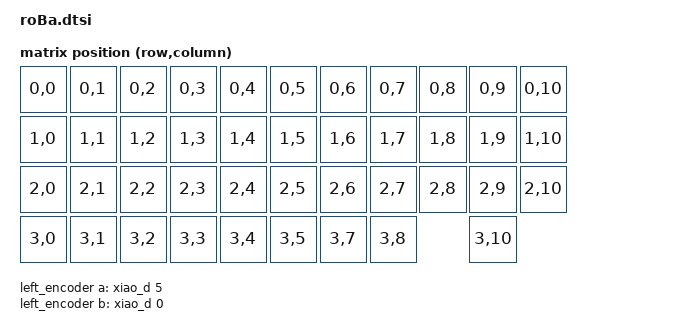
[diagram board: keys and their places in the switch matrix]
/* roBa.dtsi */
#include <dt-bindings/zmk/matrix_transform.h>

/ {
    chosen {
        zmk,matrix_transform = &default_transform;
    };

    /* 物理配列に合わせて11列 (左6 + 右5) */
    default_transform: keymap_transform_0 {
        compatible = "zmk,matrix-transform";
        columns = <11>;
        rows = <4>;
        
        map = <
            RC(0,0) RC(0,1) RC(0,2) RC(0,3) RC(0,4) RC(0,5)                 RC(0,6) RC(0,7) RC(0,8) RC(0,9) RC(0,10)
            RC(1,0) RC(1,1) RC(1,2) RC(1,3) RC(1,4) RC(1,5)         RC(1,6) RC(1,7) RC(1,8) RC(1,9) RC(1,10)
            RC(2,0) RC(2,1) RC(2,2) RC(2,3) RC(2,4) RC(2,5)         RC(2,6) RC(2,7) RC(2,8) RC(2,9) RC(2,10)
            RC(3,0) RC(3,1) RC(3,2) RC(3,3) RC(3,4) RC(3,5)                 RC(3,7) RC(3,8)         RC(3,10)
        >;
    };

    /* エンコーダー定義 (デフォルト無効) */
    left_encoder: left_encoder {
        compatible = "alps,ec11";
        a-gpios = <&xiao_d 5 (GPIO_ACTIVE_HIGH | GPIO_PULL_UP)>;
        b-gpios = <&xiao_d 0 (GPIO_ACTIVE_HIGH | GPIO_PULL_UP)>;
        steps = <24>;
        status = "disabled";
    };

    /* センサーリスト */
    sensors: sensors {
        compatible = "zmk,keymap-sensors";
        sensors = <&left_encoder>;
        triggers-per-rotation = <20>;
    };

    /* トラックボール入力転送用の枠組み */
    split_inputs {
        #address-cells = <1>;
        #size-cells = <0>;

        trackball_split: trackball_split@0 {
            compatible = "zmk,input-split";
            reg = <0>;
            // deviceプロパティは右側のoverlayで追加
        };
    };

    /* リスナー (デフォルト無効) */
    trackball_listener: trackball_listener {
        compatible = "zmk,input-listener";
        status = "disabled";
        device = <&trackball_split>;
    };
};
